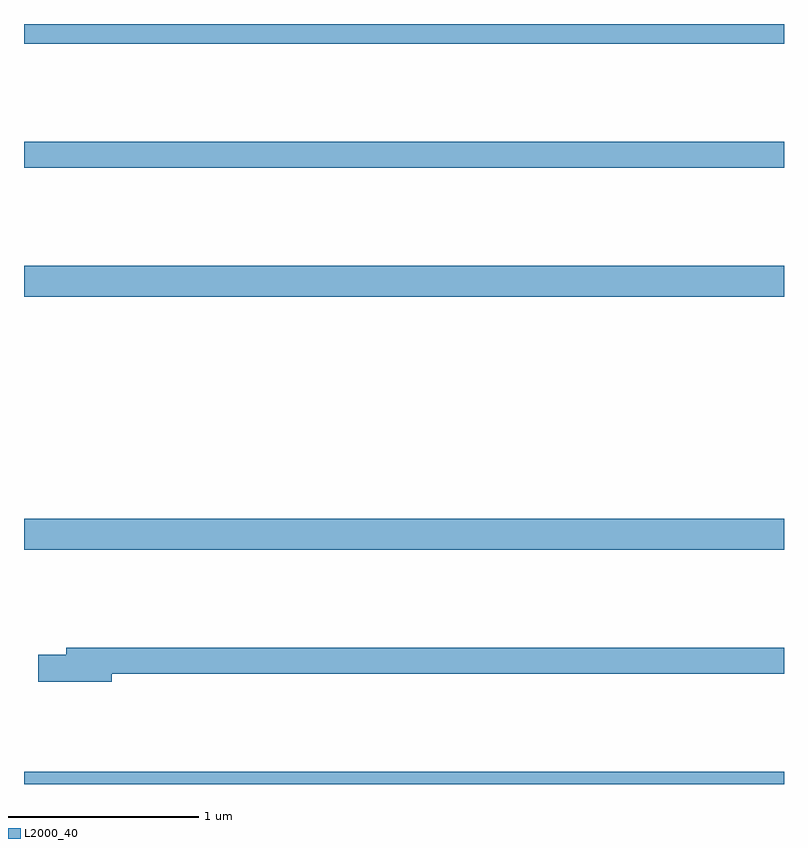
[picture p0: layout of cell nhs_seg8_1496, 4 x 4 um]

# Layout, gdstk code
import gdstk
lib = gdstk.Library(unit=1e-6, precision=1e-09)
def R(c, l, rs):  # rectangles x0, y0, x1, y1
    for r in rs: c.add(gdstk.rectangle(r[:2], r[2:], *l))
def P(c, l, *ps):  # polygons
    for p in ps: c.add(gdstk.Polygon(p, *l))
L2000_40 = (2000, 40)

nhs_seg8_1496 = lib.new_cell('nhs_seg8_1496')
R(nhs_seg8_1496, L2000_40, [(205,1149.9,209,1149.964), (205,1151.132,209,1151.296), (205,1152.464,209,1152.628), (205,1153.144,209,1153.28), (205,1153.796,209,1153.9)])
P(nhs_seg8_1496, L2000_40, [(205.462,1150.48),(209,1150.48),(209,1150.616),(205.223,1150.616),(205.223,1150.58),(205.074,1150.58),(205.074,1150.438),(205.462,1150.438)])

lib.write_gds('nhs_seg8_1496.gds')
